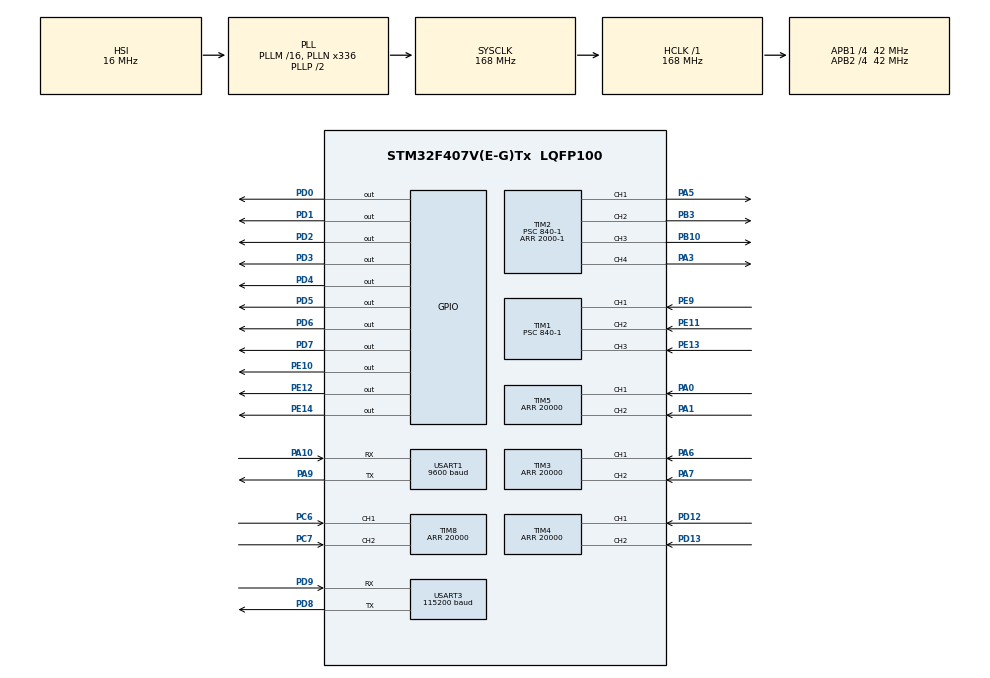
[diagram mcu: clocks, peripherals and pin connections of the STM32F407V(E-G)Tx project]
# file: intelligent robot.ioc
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FREERTOS.Queues01=imutomotor,32,uint16_t,0,Dynamic,NULL,NULL;imudata,32,uint16_t,0,Dynamic,NULL,NULL;pid_queueHandle,20,uint16_t,0,Dynamic,NULL,NULL
FREERTOS.Tasks01=defaultTask,16,128,StartDefaultTask,Default,NULL,Dynamic,NULL,NULL;imu_task,40,256,IMU_task,Default,NULL,Dynamic,NULL,NULL;motor_task,24,384,MOTOR_TASK,Default,NULL,Dynamic,NULL,NULL;exchange_task,8,128,EXchangetask,Default,NULL,Dynamic,NULL,NULL
FREERTOS.configTOTAL_HEAP_SIZE=20480
Mcu.Family=STM32F4
Mcu.Name=STM32F407V(E-G)Tx
Mcu.Package=LQFP100
NVIC.PriorityGroup=NVIC_PRIORITYGROUP_4
NVIC.TIM1_CC_IRQn=true\:5\:0\:true\:false\:true\:true\:true\:true\:true
NVIC.TIM1_TRG_COM_TIM11_IRQn=true\:7\:0\:true\:false\:true\:true\:true\:true\:true
NVIC.TIM6_DAC_IRQn=true\:6\:0\:true\:false\:true\:true\:true\:true\:true
NVIC.TIM7_IRQn=true\:6\:0\:true\:false\:true\:true\:true\:true\:true
NVIC.TIM8_BRK_TIM12_IRQn=true\:6\:0\:true\:false\:true\:true\:true\:true\:true
NVIC.TIM8_UP_TIM13_IRQn=true\:15\:0\:false\:false\:true\:false\:true\:true\:true
NVIC.TimeBase=TIM8_UP_TIM13_IRQn
NVIC.TimeBaseIP=TIM13
NVIC.USART1_IRQn=true\:5\:0\:true\:false\:true\:true\:true\:true\:true
NVIC.USART3_IRQn=true\:6\:0\:true\:false\:true\:true\:true\:true\:true
PA0-WKUP.Signal=S_TIM5_CH1
PA1.Signal=S_TIM5_CH2
PA10.Mode=Asynchronous
PA10.Signal=USART1_RX
PA13.Mode=Serial_Wire
PA13.Signal=SYS_JTMS-SWDIO
PA14.Mode=Serial_Wire
PA14.Signal=SYS_JTCK-SWCLK
PA3.Signal=S_TIM2_CH4
PA5.Signal=S_TIM2_CH1_ETR
PA6.Signal=S_TIM3_CH1
PA7.Signal=S_TIM3_CH2
PA9.Mode=Asynchronous
PA9.Signal=USART1_TX
PB10.Signal=S_TIM2_CH3
PB3.Signal=S_TIM2_CH2
PC6.Signal=S_TIM8_CH1
PC7.Signal=S_TIM8_CH2
PD0.Signal=GPIO_Output
PD1.Signal=GPIO_Output
PD12.Signal=S_TIM4_CH1
PD13.Signal=S_TIM4_CH2
PD2.Signal=GPIO_Output
PD3.Signal=GPIO_Output
PD4.Signal=GPIO_Output
PD5.Signal=GPIO_Output
PD6.Signal=GPIO_Output
PD7.Signal=GPIO_Output
PD8.Mode=Asynchronous
PD8.Signal=USART3_TX
PD9.Mode=Asynchronous
PD9.Signal=USART3_RX
PE10.GPIO_PuPd=GPIO_PULLUP
PE10.GPIO_Speed=GPIO_SPEED_FREQ_HIGH
PE10.Signal=GPIO_Output
PE11.Signal=S_TIM1_CH2
PE12.Signal=GPIO_Output
PE13.Signal=S_TIM1_CH3
PE14.Signal=GPIO_Output
PE9.Signal=S_TIM1_CH1
PH0-OSC_IN.Mode=HSE-External-Oscillator
PH0-OSC_IN.Signal=RCC_OSC_IN
PH1-OSC_OUT.Mode=HSE-External-Oscillator
PH1-OSC_OUT.Signal=RCC_OSC_OUT
ProjectManager.HeapSize=0x200
ProjectManager.StackSize=0x400
ProjectManager.TargetToolchain=MDK-ARM V5.32
RCC.48MHZClocksFreq_Value=48000000
RCC.AHBFreq_Value=168000000
RCC.APB1CLKDivider=RCC_HCLK_DIV4
RCC.APB1Freq_Value=42000000
RCC.APB1TimFreq_Value=84000000
RCC.APB2CLKDivider=RCC_HCLK_DIV4
RCC.APB2Freq_Value=42000000
RCC.APB2TimFreq_Value=84000000
RCC.CortexFreq_Value=168000000
RCC.HCLKFreq_Value=168000000
RCC.HSE_VALUE=16000000
RCC.HSI_VALUE=16000000
RCC.LSE_VALUE=32768
RCC.PLLN=336
RCC.PLLQ=7
RCC.SYSCLKFreq_VALUE=168000000
RCC.SYSCLKSource=RCC_SYSCLKSOURCE_PLLCLK
RCC.VCOOutputFreq_Value=336000000
SH.S_TIM1_CH1.0=TIM1_CH1,Input_Capture1_from_TI1
SH.S_TIM1_CH2.0=TIM1_CH2,Input_Capture2_from_TI2
SH.S_TIM1_CH3.0=TIM1_CH3,Input_Capture3_from_TI3
SH.S_TIM2_CH1_ETR.0=TIM2_CH1,PWM Generation1 CH1
SH.S_TIM2_CH2.0=TIM2_CH2,PWM Generation2 CH2
SH.S_TIM2_CH3.0=TIM2_CH3,PWM Generation3 CH3
SH.S_TIM2_CH4.0=TIM2_CH4,PWM Generation4 CH4
SH.S_TIM3_CH1.0=TIM3_CH1,Encoder_Interface
SH.S_TIM3_CH2.0=TIM3_CH2,Encoder_Interface
SH.S_TIM4_CH1.0=TIM4_CH1,Encoder_Interface
SH.S_TIM4_CH2.0=TIM4_CH2,Encoder_Interface
SH.S_TIM5_CH1.0=TIM5_CH1,Encoder_Interface
SH.S_TIM5_CH2.0=TIM5_CH2,Encoder_Interface
SH.S_TIM8_CH1.0=TIM8_CH1,Encoder_Interface
SH.S_TIM8_CH2.0=TIM8_CH2,Encoder_Interface
TIM1.Channel-Input_Capture1_from_TI1=TIM_CHANNEL_1
TIM1.Channel-Input_Capture2_from_TI2=TIM_CHANNEL_2
TIM1.Channel-Input_Capture3_from_TI3=TIM_CHANNEL_3
TIM1.Prescaler=840-1
TIM11.Period=1000
TIM11.Prescaler=840-1
TIM12.Period=10000
TIM12.Prescaler=840-1
TIM2.Channel-PWM\ Generation1\ CH1=TIM_CHANNEL_1
TIM2.Channel-PWM\ Generation2\ CH2=TIM_CHANNEL_2
TIM2.Channel-PWM\ Generation3\ CH3=TIM_CHANNEL_3
TIM2.Channel-PWM\ Generation4\ CH4=TIM_CHANNEL_4
TIM2.Period=2000-1
TIM2.Prescaler=840-1
TIM3.EncoderMode=TIM_ENCODERMODE_TI12
TIM3.Period=20000
TIM4.EncoderMode=TIM_ENCODERMODE_TI12
TIM4.Period=20000
TIM5.EncoderMode=TIM_ENCODERMODE_TI12
TIM5.Period=20000
TIM6.Period=800-1
TIM6.Prescaler=840-1
TIM7.Period=2000-1
TIM7.Prescaler=840-1
TIM8.EncoderMode=TIM_ENCODERMODE_TI12
TIM8.Period=20000
TIM9.Prescaler=84-1
USART1.BaudRate=9600
USART1.VirtualMode=VM_ASYNC
USART3.BaudRate=115200
USART3.VirtualMode=VM_ASYNC
VP_FREERTOS_VS_CMSIS_V2.Mode=CMSIS_V2
VP_SYS_VS_tim13.Mode=TIM13
VP_TIM11_VS_ClockSourceINT.Mode=Enable_Timer
VP_TIM12_VS_ClockSourceINT.Mode=Internal
VP_TIM1_VS_ClockSourceINT.Mode=Internal
VP_TIM2_VS_ClockSourceINT.Mode=Internal
VP_TIM6_VS_ClockSourceINT.Mode=Enable_Timer
VP_TIM7_VS_ClockSourceINT.Mode=Enable_Timer
VP_TIM9_VS_ClockSourceINT.Mode=Internal
board=custom

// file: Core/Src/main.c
/* USER CODE BEGIN Header */
/**
  ******************************************************************************
  * @file           : main.c
  * @brief          : Main program body
  ******************************************************************************
  * @attention
  *
  * Copyright (c) 2025 STMicroelectronics.
  * All rights reserved.
  *
  * This software is licensed under terms that can be found in the LICENSE file
  * in the root directory of this software component.
  * If no LICENSE file comes with this software, it is provided AS-IS.
  *
  ******************************************************************************
  */
/* USER CODE END Header */
#include "main.h"
#include "cmsis_os.h"
#include "tim.h"
#include "usart.h"
#include "gpio.h"

/* USER CODE BEGIN Includes */
#include "motor.h"
#include "stm32f4xx_it.h"
#include "math.h"
/* USER CODE END Includes */

/* USER CODE BEGIN PV */
uint8_t imu_buffer[2][10];
static PIDdata SP={0} ;
static PIDdata SP1={0} ;
static PIDdata SP2={0} ;
static PIDdata SP3={0} ;
static PIDdata target0={0} ;
static PIDdata target1={0} ;
static PIDdata turnangle={0} ;
static locationdata location={0};
static PIDdata lengthPID1={0};
static PIDdata lengthPID2={0};
locationdata *locate=&location;
PIDdata *speed=&SP;
PIDdata *speed2=&SP1;
PIDdata *speed3=&SP2;
PIDdata *speed4=&SP3;
PIDdata *ta0=&target0;
PIDdata *ta1=&target1;
PIDdata *angle=&turnangle;
PIDdata *lengthpidX=&lengthPID1;
PIDdata *lengthpidY=&lengthPID2;
Obstaclecase judge_ob;
extern uint16_t runstate;
extern JY901_Data imu_data;
uint16_t sudu=0;
 uint8_t RX_buffer[1];
extern uint8_t Uart3_Receive_buf[1];
extern uint16_t len_control;
extern OdomData Odom;
/* USER CODE END PV */

void SystemClock_Config(void);
void MX_FREERTOS_Init(void);

int main(void)
{

  /* MCU Configuration--------------------------------------------------------*/

  /* Reset of all peripherals, Initializes the Flash interface and the Systick. */
  HAL_Init();

  /* Configure the system clock */
  SystemClock_Config();

  /* Initialize all configured peripherals */
  MX_GPIO_Init();
  MX_TIM1_Init();
  MX_TIM6_Init();
  MX_TIM2_Init();
  MX_TIM3_Init();
  MX_TIM4_Init();
  MX_TIM5_Init();
  MX_TIM8_Init();
  MX_USART1_UART_Init();
  MX_TIM9_Init();
  MX_TIM7_Init();
  MX_TIM11_Init();
  MX_USART3_UART_Init();
  MX_TIM12_Init();
  /* USER CODE BEGIN 2 */
  DWT_Init();
 PID_init();
 // RC_Init(imu_buffer[0],imu_buffer[1],imu_buflength);
  HAL_TIM_Base_Start(&htim1);
  HAL_TIM_Base_Start(&htim2);
     HAL_TIM_Base_Start_IT(&htim6);
    HAL_TIM_Base_Start(&htim9);
	 HAL_TIM_Base_Start_IT(&htim12);

  //  HAL_TIM_Base_Start(&htim10);;
   uint8_t rx_byte;

HAL_UART_Receive_IT(&huart1, &rx_byte, 1);
	// motor_run(500,500,500,500);
  HAL_TIM_PWM_Start(&htim2, TIM_CHANNEL_1);
  HAL_TIM_PWM_Start(&htim2, TIM_CHANNEL_2);
  HAL_TIM_PWM_Start(&htim2, TIM_CHANNEL_3);
  HAL_TIM_PWM_Start(&htim2, TIM_CHANNEL_4);
//  // motor_turn_Left(1200,1200,1200,1200);
//  HAL_TIM_IC_Start_IT(&htim1, TIM_CHANNEL_1);
//
//	HAL_TIM_IC_Start_IT(&htim1, TIM_CHANNEL_2);
//
//	HAL_TIM_IC_Start_IT(&htim1, TIM_CHANNEL_3);
//
  HAL_Delay(1000);
  HAL_UART_Receive_IT(&huart3,Uart3_Receive_buf,1);
  HAL_TIM_Base_Start_IT(&htim11);

  /* USER CODE END 2 */

  /* Init scheduler */
  osKernelInitialize();

  /* Call init function for freertos objects (in cmsis_os2.c) */
  MX_FREERTOS_Init();

  /* Start scheduler */
  osKernelStart();

  /* We should never get here as control is now taken by the scheduler */

  /* Infinite loop */
  while (1)
  {

  }
}

void SystemClock_Config(void)
{
  RCC_OscInitTypeDef RCC_OscInitStruct = {0};
  RCC_ClkInitTypeDef RCC_ClkInitStruct = {0};

  /** Configure the main internal regulator output voltage
  */
  __HAL_RCC_PWR_CLK_ENABLE();
  __HAL_PWR_VOLTAGESCALING_CONFIG(PWR_REGULATOR_VOLTAGE_SCALE1);

  /** Initializes the RCC Oscillators according to the specified parameters
  * in the RCC_OscInitTypeDef structure.
  */
  RCC_OscInitStruct.OscillatorType = RCC_OSCILLATORTYPE_HSI;
  RCC_OscInitStruct.HSIState = RCC_HSI_ON;
  RCC_OscInitStruct.HSICalibrationValue = RCC_HSICALIBRATION_DEFAULT;
  RCC_OscInitStruct.PLL.PLLState = RCC_PLL_ON;
  RCC_OscInitStruct.PLL.PLLSource = RCC_PLLSOURCE_HSI;
  RCC_OscInitStruct.PLL.PLLM = 16;
  RCC_OscInitStruct.PLL.PLLN = 336;
  RCC_OscInitStruct.PLL.PLLP = RCC_PLLP_DIV2;
  RCC_OscInitStruct.PLL.PLLQ = 7;
  if (HAL_RCC_OscConfig(&RCC_OscInitStruct) != HAL_OK)
  {
    Error_Handler();
  }

  /** Initializes the CPU, AHB and APB buses clocks
  */
  RCC_ClkInitStruct.ClockType = RCC_CLOCKTYPE_HCLK|RCC_CLOCKTYPE_SYSCLK
                              |RCC_CLOCKTYPE_PCLK1|RCC_CLOCKTYPE_PCLK2;
  RCC_ClkInitStruct.SYSCLKSource = RCC_SYSCLKSOURCE_PLLCLK;
  RCC_ClkInitStruct.AHBCLKDivider = RCC_SYSCLK_DIV1;
  RCC_ClkInitStruct.APB1CLKDivider = RCC_HCLK_DIV4;
  RCC_ClkInitStruct.APB2CLKDivider = RCC_HCLK_DIV4;

  if (HAL_RCC_ClockConfig(&RCC_ClkInitStruct, FLASH_LATENCY_5) != HAL_OK)
  {
    Error_Handler();
  }
}

/* USER CODE BEGIN 4 */
uint16_t get_encoder()
{
	return __HAL_TIM_GET_COUNTER(&htim3);
}
uint16_t get_encoder1()
{
	return __HAL_TIM_GET_COUNTER(&htim4);
}
uint16_t get_encoder2()
{
	return __HAL_TIM_GET_COUNTER(&htim5);
}
uint16_t get_encoder3()
{
	return __HAL_TIM_GET_COUNTER(&htim8);
}

// ΢�뼶��ʱ����
void delay_us(uint32_t us) {
	uint16_t cnt=0;
   HAL_TIM_Base_Stop(&htim9);
	 __HAL_TIM_SET_COUNTER(&htim9, 0);
	HAL_TIM_Base_Start(&htim9);         // 计数器归零
    while (__HAL_TIM_GET_COUNTER(&htim9) < us)
	{
		cnt+=1;
	}
		// 等待计数器达到目标值
}
int16_t speedPID( uint16_t target,float *vbefore,float V,PIDdata *speed)
{

	if(V<0)
	{
		V=V*-1;
	}
	 int16_t error=target-V;
	 speed->Integral+=speed->KI*error;
	 int16_t weifen=V-*vbefore;
	*vbefore=V;
	//speed->LimitIntergal=target*2.5;
	if(speed->Integral>=speed->LimitIntergal)
	{
		speed->Integral=speed->LimitIntergal;
	}
	if(speed->Integral<=(speed->LimitIntergal)*(-1))
	{
		speed->Integral=(speed->LimitIntergal)*(-1);
	}
	int16_t output=speed->KP*error+speed->Integral+speed->KD*weifen;
	//speed->LimitOutput=target*3;
	if(output>=speed->LimitOutput)
	{
		output=speed->LimitOutput;
	}
	if(output<=0)
	{
		output=10;
	}

	return output;

}
int16_t direct_PID(int16_t target,int16_t *anglebefore,int16_t *intergram,int16_t angle ,PIDdata *tar)
{
	int16_t error=target-angle;
	*intergram+=tar->KI*error;
	int16_t wei=angle-*anglebefore;
	*anglebefore=angle;
	if(*intergram>=tar->LimitIntergal)
	{
		*intergram=tar->LimitIntergal;
	}
	if(*intergram<=((tar->LimitIntergal)*(-1)))
	{
		*intergram=(tar->LimitIntergal)*(-1);
	}
	int16_t output=tar->KP*error+*intergram+tar->KD*wei;

	if(output>=tar->LimitOutput)
	{
		output=tar->LimitOutput;
	}
	if(output<=(tar->LimitOutput)*(-1))
	{
		output=(-tar->LimitOutput*(-1));
	}
	return output;

}
void PID_init()
{
	speed->Integral=200;
	speed->KD=-1.5;
	speed->KI=0;
	speed->KP=25;
	speed->LimitIntergal=1400;
	speed->LimitOutput=1600;
	speed->limitoutput_fanzhuan=-200;

	speed2->Integral=200;
	speed2->KD=-1.5;
	speed2->KI=0;
	speed2->KP=25;
	speed2->LimitIntergal=1400;
	speed2->LimitOutput=1600;
	speed2->limitoutput_fanzhuan=-200;

	speed3->Integral=200;
	speed3->KD=-1.5;
	speed3->KI=0;
	speed3->KP=25;
	speed3->LimitIntergal=1400;
	speed3->LimitOutput=1600;
	speed3->limitoutput_fanzhuan=-200;

	speed4->Integral=200;
	speed4->KD=-1.5;
	speed4->KI=0;
	speed4->KP=25;
	speed4->LimitIntergal=1400;
	speed4->LimitOutput=1600;
	speed4->limitoutput_fanzhuan=-200;

	ta0->Integral=200;
	ta0->KD=10;
	ta0->KI=0.5;
	ta0->KP=0.05;
	ta0->LimitIntergal=200;
	ta0->LimitOutput=200;

	ta1->Integral=200;
	ta1->KD=10;
	ta1->KI=0.5;
	ta1->KP=0.05;
	ta1->LimitIntergal=200;
	ta1->LimitOutput=200;

	angle->KP=25;
	angle->KI=10;
	angle->KD=-0.9 ;
//    angle->KP=4;
//	angle->KI=0.5;
//	angle->KD=-0.5 ;

	angle->LimitIntergal=1600;
	angle->LimitOutput=1900;
	angle->Integral=50;

    lengthpidX->KP=20;
	lengthpidX->KI=0.8;
	lengthpidX->KD=-0.3;
	lengthpidX->LimitIntergal=500;
	lengthpidX->Integral=0;
	lengthpidX->LimitOutput=700;

	lengthpidY->KP=20;
	lengthpidY->KI=0.8;
	lengthpidY->KD=-0.3;
	lengthpidY->LimitIntergal=500;
	lengthpidY->Integral=0;
	lengthpidY->LimitOutput=700;

}
void PID_reinit()
{

	speed->KI=2.4;
	speed->KP=22;
	speed->Integral=200;
	speed2->KI=2.4;
	speed2->KP=22;
	speed2->Integral=200;
	speed3->KI=2.4;
	speed3->KP=22;
	speed3->Integral=200;
	speed4->KI=2.4;
	speed4->KP=22;
	speed4->Integral=200;
	angle->Integral=150;

}

float  MYabs(float a,float b)
{
	if((a-b)>0)
	{
		return a-b;
	}
	else
	{
		return b-a;
	}
}
float V_caculate(uint16_t *temp1,uint16_t *temp11,uint16_t *counter_temp1,uint16_t *counter_tempbefore1,uint16_t a)
{
	     if(*temp1>20000)
		 {
			 *temp1=*temp11;
		 }
			*counter_temp1=MYabs(*temp1,*temp11);
		 static uint16_t m1=0;
		 static uint16_t m2=0;
		  static uint16_t m3=0;
		  static uint16_t m4=0;
		 switch(a)
		 {
		case 1:
		{

		if(runstate==2|runstate==4)
		{
		if(*temp1>17000&&*temp11<3000)
		{

			*counter_temp1=*temp11+20000-*temp1;

	}
}
		if(runstate==1|runstate==3)
		{
		if(*temp11>17000&&*temp1<3000)
		{

			*counter_temp1=*temp1+20000-*temp11;

	}
}
		*counter_temp1=MYabs(*counter_temp1,0);
        if(runstate!=5)
		{
		if(*counter_temp1==0)
		{
			*counter_temp1=*counter_tempbefore1;
			m1+=1;
			if(m1>4)
			{
				*counter_temp1=0;
				m1=5;
			}

		}
		else{
		*counter_tempbefore1=*counter_temp1;
			m1=0;

		}
	}
	*temp11=*temp1;

	float V=*counter_temp1/0.02/13/4/30*M_PI*7.5;
	if(V>1000)
	{
		V=0;
	}

		return V;
	}
	case 2:
		{
		if(runstate==2|runstate==3)
		{
		if(*temp1>17000&&*temp11<3000)
		{

			*counter_temp1=*temp11+20000-*temp1;

	}
}
		if(runstate==1|runstate==4)
		{
		if(*temp11>17000&&*temp1<3000)
		{

			*counter_temp1=*temp1+20000-*temp11;

	}
}
		*counter_temp1=MYabs(*counter_temp1,0);
         if(runstate!=5)
		{
		if(*counter_temp1==0)
		{
			*counter_temp1=*counter_tempbefore1;
			m2+=1;
			if(m2>4)
			{
				*counter_temp1=0;
				m2=5;
			}
		}
		else{
		*counter_tempbefore1=*counter_temp1;
			m2=0;
		}
	}
	*temp11=*temp1;
	float V=*counter_temp1/0.02/13/4/30*M_PI*7.5;
    	if(V>1000)
	{
		V=0;
	}

		return V;
	}
	case 3:
		{
		if(runstate==1|runstate==4)
		{
		if(*temp1>17000&&*temp11<3000)
		{

			*counter_temp1=*temp11+20000-*temp1;

	}
}
		if(runstate==2|runstate==3)
		{
		if(*temp11>17000&&*temp1<3000)
		{

			*counter_temp1=*temp1+20000-*temp11;

	}
}
		*counter_temp1=MYabs(*counter_temp1,0);
        if(runstate!=5)
		{

		if(*counter_temp1==0)
		{
			*counter_temp1=*counter_tempbefore1;
			m3+=1;
			if(m3>4)
			{

				*counter_temp1=0;
				m3=5;
			}

		}
		else{
		*counter_tempbefore1=*counter_temp1;
			m3=0;
		}
	}
	*temp11=*temp1;
	float V=*counter_temp1/0.02/13/4/30*M_PI*7.5;
    	if(V>1000)
	{
		V=0;
	}

		return V;
	}
	case 4:
		{
		if(runstate==1|runstate==3)
		{
		if(*temp1>17000&&*temp11<3000)
		{

			*counter_temp1=*temp11+20000-*temp1;

	}
}
		if(runstate==2|runstate==4)
		{
		if(*temp11>17000&&*temp1<3000)
		{

			*counter_temp1=*temp1+20000-*temp11;

	}
}
		*counter_temp1=MYabs(*counter_temp1,0);
        if(runstate!=5)
		{
		if(*counter_temp1==0)
		{
			*counter_temp1=*counter_tempbefore1;
			m4+=1;
			if(m4>4)
			{
				*counter_temp1=0;
				m4=5;
			}
		}
		else{
		*counter_tempbefore1=*counter_temp1;
			m4=0;
		}
	*temp11=*temp1;
	float V=*counter_temp1/0.02/13/4/30*M_PI*7.5;
		if(V>1000)
	{
		V=0;
	}

		return V;
	}
}
	}

}
void turn_fixed_angle(float angle_begin ,float angle_target,uint16_t time)
{
	static float error=0;
	static float error_before=0;

	static float weifen=0;
	float change_angle;
	change_angle=MYabs(angle_begin,angle_target);
	if(angle_target>=90&&angle_begin<=-90)
	{
		change_angle=360-angle_target+angle_begin;
	}
	if(angle_begin>=90&&angle_target<=-90)
	{
		change_angle=360-angle_begin+angle_target;
	}
	if(angle_begin<-90&&angle_target>90)
	{
		if(imu_data.angle[2]<-90)
		{
			error=180-angle_target+imu_data.angle[2]+180;
		}
		if(imu_data.angle[2]>0)
		{
			error=imu_data.angle[2]-angle_target;
		}
	    angle->Integral+=angle->KI*error;
		weifen=change_angle-error;
		error_before = error;
		if(MYabs(error,0)<25&&MYabs(error,0)>15)
		{
		angle->LimitIntergal=MYabs(error,0)*(30-MYabs(error,0))*30;
		}
		else if(MYabs(error,0)<15&&MYabs(error,0)>5)
		{
			angle->LimitIntergal=MYabs(error,0)*(19-MYabs(error,0))*28;
			if(change_angle>50)
			{
				angle->LimitIntergal+=50;
			}
			else
			{
				angle->LimitIntergal+=change_angle;
			}
		}
		else if(MYabs(error,0)<5&&MYabs(error,0)>1.5)
		{
			angle->LimitIntergal=1200;
		}
		else if(MYabs(error,0)<=1.5)
		{
			angle->LimitIntergal=0;
			weifen=0;
		}
//		if(angle->LimitIntergal>=change_angle*4)
//		{
//			angle->LimitIntergal=change_angle*4;
//		}
		if(angle->Integral>angle->LimitIntergal)
		{
			angle->Integral=angle->LimitIntergal;
		}
		if(angle->Integral<=(angle->LimitIntergal*-1))
		{
			angle->Integral=angle->LimitIntergal*-1;
		}
		int16_t output=angle->KP*error+ angle->Integral+angle->KD*weifen;
		if(output>angle->LimitOutput)
		{
			output=angle->LimitOutput;
		}
		if(output<angle->LimitOutput*(-1))
		{
			output==angle->LimitOutput*(-1);
		}
		if(output>0)
		{
			motor_turn_Right(output+12*time,output+12*time,output+12*time,output+12*time);
		}
		else
		{
			motor_turn_Left(-1*output+12*time,-1*output+12*time,-1*output+12*time,-1*output+12*time);
		}
	}
	else if(angle_begin>=90&&angle_target<=-90)
	{
		if(imu_data.angle[2]>90)
		{
			error=180+angle_target-imu_data.angle[2]+180;
		}
		if(imu_data.angle[2]<0)
		{
			error=angle_target-imu_data.angle[2];
		}
	    angle->Integral+=angle->KI*error;
		weifen=change_angle-error;
		error_before = error;
		if(MYabs(error,0)<25&&MYabs(error,0)>15)
		{
		angle->LimitIntergal=MYabs(error,0)*(30-MYabs(error,0))*30;
		}
        else if(MYabs(error,0)<15&&MYabs(error,0)>5)
		{
			angle->LimitIntergal=MYabs(error,0)*(19-MYabs(error,0))*28;
			if(change_angle>50)
			{
				angle->LimitIntergal+=100;
			}
			else
			{
				angle->LimitIntergal+=change_angle;
			}
		}
		else if(MYabs(error,0)<5&&MYabs(error,0)>1.5)
		{
			angle->LimitIntergal=1200;
		}
		else if(MYabs(error,0)<=1.5)
		{
			angle->LimitIntergal=0;
			weifen=0;
		}
//		if(angle->LimitIntergal>=change_angle*5)
//		{
//			angle->LimitIntergal=change_angle*5;
//		}
		if(angle->Integral>angle->LimitIntergal)
		{
			angle->Integral=angle->LimitIntergal;
		}
		if(angle->Integral<=(angle->LimitIntergal*-1))
		{
			angle->Integral=angle->LimitIntergal*-1;
		}
		int16_t output=angle->KP*error+ angle->Integral+angle->KD*weifen;
		if(output>angle->LimitOutput)
		{
			output=angle->LimitOutput;
		}
		if(output<angle->LimitOutput*-1)
		{
			output=angle->LimitOutput*-1;
		}
		if(output>0)
		{
			motor_turn_Left(output+12*time,output+12*time,output+12*time,output+12*time);
		}
		else if(output<=0)
		{
		motor_turn_Right(output*-1+12*time,output*-1+12*time,output*-1+12*time,output*-1+12*time);
		}
	}
	else
	{
		if(imu_data.angle[2]>90&&angle_target<-90)
		{
			error=180-imu_data.angle[2]+angle_target+180;
		}
		else if(imu_data.angle[2]<-90&&angle_target>90)
		{
			error=-1*(imu_data.angle[2]+180+180-angle_target);
		}
		else
		{
			error=angle_target-imu_data.angle[2];
		}
		angle->Integral+=angle->KI*error;
		//angle->LimitIntergal=MYabs(error,0)*10;
		if(MYabs(error,0)<25&&MYabs(error,0)>15)
		{
		angle->LimitIntergal=MYabs(error,0)*(30-MYabs(error,0))*30+20;
		}
        else if(MYabs(error,0)<15&&MYabs(error,0)>5)
		{
			angle->LimitIntergal=MYabs(error,0)*(19-MYabs(error,0))*28;
			if(change_angle>30)
			{
				angle->LimitIntergal+=100;
			}
//			else
//			{
//				angle->LimitIntergal+=change_angle;
//			}
		}
		else if(MYabs(error,0)<5&&MYabs(error,0)>1.5)
		{
			angle->LimitIntergal=1200;

		}
		else if(MYabs(error,0)<=1.5)
		{
			angle->LimitIntergal=0;
			weifen=0;
		}
//		if(angle->LimitIntergal>=change_angle*5)
//		{
//			angle->LimitIntergal=change_angle*5;
//		}
		weifen=change_angle-error;
		error_before = error;
		if(angle->Integral>angle->LimitIntergal)
		{
			angle->Integral=angle->LimitIntergal;
		}
		if(angle->Integral<=(angle->LimitIntergal*-1))
		{
			angle->Integral=angle->LimitIntergal*-1;
		}
		int16_t output=angle->KP*error+angle->Integral+angle->KD*weifen;
		if(output>angle->LimitOutput)
		{
			output=angle->LimitOutput;
		}
		if(-1*output>angle->LimitOutput)
		{
			output=angle->LimitOutput*-1;
		}

		if(output>=0)
		{
			motor_turn_Left(output+12*time,output+12*time,output+12*time,output+12*time);
		}
		else
		{
			motor_turn_Right(-1*output+12*time,-1*output+12*time,-1*output+12*time,-1*output+12*time);
		}
	}

}

//void turn_fixed_angle(float angle_begin ,float angle_target,uint16_t time)
//{
//	static float error=0;
//	static float error_before=0;
//
//	static float weifen=0;
//	float change_angle;
//	change_angle=MYabs(angle_begin,angle_target);
//	if(angle_target>=90&&angle_begin<=-90)
//	{
//		change_angle=360-angle_target+angle_begin;
//	}
//	if(angle_begin>=90&&angle_target<=-90)
//	{
//		change_angle=360-angle_begin+angle_target;
//	}
//	if(angle_begin<-90&&angle_target>90)
//	{
//		if(imu_data.angle[2]<-90)
//		{
//			error=180-angle_target+imu_data.angle[2]+180;
//		}
//		if(imu_data.angle[2]>0)
//		{
//			error=imu_data.angle[2]-angle_target;
//		}
//	    angle->Integral+=angle->KI*error;
//		weifen=change_angle-error;
//		error_before = error;
//		if(MYabs(error,0)<25&&MYabs(error,0)>15)
//		{
//		angle->LimitIntergal=MYabs(error,0)*(27-MYabs(error,0));
//		}
//		else if(MYabs(error,0)<15&&MYabs(error,0)>5)
//		{
//			angle->LimitIntergal=MYabs(error,0)*(18-MYabs(error,0));
//			if(change_angle>50)
//			{
//				angle->LimitIntergal+=10;
//			}
////			else
////			{
////				angle->LimitIntergal+=change_angle;
////			}
//		}
//		else if(MYabs(error,0)<5&&MYabs(error,0)>1.5)
//		{
//			angle->LimitIntergal=50;
//		}
//		else if(MYabs(error,0)<=1.5)
//		{
//			angle->LimitIntergal=0;
//			weifen=0;
//		}
//		if(angle->LimitIntergal>=change_angle*4)
//		{
//			angle->LimitIntergal=change_angle*4;
//		}
//		if(angle->Integral>angle->LimitIntergal)
//		{
//			angle->Integral=angle->LimitIntergal;
//		}
//		if(angle->Integral<=(angle->LimitIntergal*-1))
//		{
//			angle->Integral=angle->LimitIntergal*-1;
//		}
//		int16_t output=angle->KP*error+ angle->Integral+angle->KD*weifen;
//		if(output>angle->LimitOutput)
//		{
//			output=angle->LimitOutput;
//		}
//		if(output<angle->LimitOutput*(-1))
//		{
//			output==angle->LimitOutput*(-1);
//		}
//		if(output>0)
//		{
//			motor_turn_Right(output+12*time,output+12*time,output+12*time,output+12*time);
//		}
//		else
//		{
//			motor_turn_Left(-1*output+12*time,-1*output+12*time,-1*output+12*time,-1*output+12*time);
//		}
//	}
//	else if(angle_begin>=90&&angle_target<=-90)
//	{
//		if(imu_data.angle[2]>90)
//		{
//			error=180+angle_target-imu_data.angle[2]+180;
//		}
//		if(imu_data.angle[2]<0)
//		{
//			error=angle_target-imu_data.angle[2];
//		}
//	    angle->Integral+=angle->KI*error;
//		weifen=change_angle-error;
//		error_before = error;
//		if(MYabs(error,0)<25&&MYabs(error,0)>15)
//		{
//		angle->LimitIntergal=MYabs(error,0)*(27-MYabs(error,0));
//		}
//        else if(MYabs(error,0)<15&&MYabs(error,0)>5)
//		{
//			angle->LimitIntergal=MYabs(error,0)*(18-MYabs(error,0));
//			if(change_angle>50)
//			{
//				angle->LimitIntergal+=10;
//			}
////			else
////			{
////				angle->LimitIntergal+=change_angle;
////			}
//		}
//		else if(MYabs(error,0)<5&&MYabs(error,0)>1.5)
//		{
//			angle->LimitIntergal=50;
//		}
//		else if(MYabs(error,0)<=1.5)
//		{
//			angle->LimitIntergal=0;
//			weifen=0;
//		}
//		if(angle->LimitIntergal>=change_angle*5)
//		{
//			angle->LimitIntergal=change_angle*5;
//		}
//		if(angle->Integral>angle->LimitIntergal)
//		{
//			angle->Integral=angle->LimitIntergal;
//		}
//		if(angle->Integral<=(angle->LimitIntergal*-1))
//		{
//			angle->Integral=angle->LimitIntergal*-1;
//		}
//		int16_t output=angle->KP*error+ angle->Integral+angle->KD*weifen;
//		if(output>angle->LimitOutput)
//		{
//			output=angle->LimitOutput;
//		}
//		if(output<angle->LimitOutput*-1)
//		{
//			output=angle->LimitOutput*-1;
//		}
//		if(output>0)
//		{
//			motor_turn_Left(output+12*time,output+12*time,output+12*time,output+12*time);
//		}
//		else if(output<=0)
//		{
//		motor_turn_Right(output*-1+12*time,output*-1+12*time,output*-1+12*time,output*-1+12*time);
//		}
//	}
//	else
//	{
//		if(imu_data.angle[2]>90&&angle_target<-90)
//		{
//			error=180-imu_data.angle[2]+angle_target+180;
//		}
//		else if(imu_data.angle[2]<-90&&angle_target>90)
//		{
//			error=-1*(imu_data.angle[2]+180+180-angle_target);
//		}
//		else
//		{
//			error=angle_target-imu_data.angle[2];
//		}
//		angle->Integral+=angle->KI*error;
//		angle->LimitIntergal=MYabs(error,0)*10;
//		if(MYabs(error,0)<25&&MYabs(error,0)>15)
//		{
//		angle->LimitIntergal=MYabs(error,0)*(27-MYabs(error,0))+20;
//		}
//        else if(MYabs(error,0)<15&&MYabs(error,0)>5)
//		{
//			angle->LimitIntergal=MYabs(error,0)*(18-MYabs(error,0));
//			if(change_angle>30)
//			{
//				angle->LimitIntergal+=10;
//			}
////			else
////			{
////				angle->LimitIntergal+=change_angle;
////			}
//		}
//		else if(MYabs(error,0)<5&&MYabs(error,0)>1.5)
//		{
//			angle->LimitIntergal=50;

//		}
//		else if(MYabs(error,0)<=1.5)
//		{
//			angle->LimitIntergal=0;
//			weifen=0;
//		}
//		if(angle->LimitIntergal>=change_angle*5)
//		{
//			angle->LimitIntergal=change_angle*5;
//		}
//		weifen=change_angle-error;
//		error_before = error;
//		if(angle->Integral>angle->LimitIntergal)
//		{
//			angle->Integral=angle->LimitIntergal;
//		}
//		if(angle->Integral<=(angle->LimitIntergal*-1))
//		{
//			angle->Integral=angle->LimitIntergal*-1;
//		}
//		int16_t output=angle->KP*error+angle->Integral+angle->KD*weifen;
//		if(output>angle->LimitOutput)
//		{
//			output=angle->LimitOutput;
//		}
//		if(-1*output>angle->LimitOutput)
//		{
//			output=angle->LimitOutput*-1;
//		}
//
//		if(output>=0)
//		{
//			motor_turn_Left(output+12*time,output+12*time,output+12*time,output+12*time);
//		}
//		else
//		{
//			motor_turn_Right(-1*output+12*time,-1*output+12*time,-1*output+12*time,-1*output+12*time);
//		}
//	}
//
//
//}
void locateenter(float *v1,float *v2,float *v3,float *v4,float dalayt)
{
	locate->Vtx=(*v1+*v2+*v3+*v4)/4;
	locate->Vty=(*v3-*v1+*v2-*v4)/4;
	locate->relativeX+=locate->Vtx*dalayt;
	locate->relativeY+=locate->Vty*dalayt;
	float angle=imu_data.angle[2]*2*M_PI/360;
	locate->VX=locate->Vtx*cosf(angle)-locate->Vty*sinf(angle);
	locate->VY=locate->Vtx*sinf(angle)+locate->Vty*cosf(angle);
	locate->locationX+=locate->VX*dalayt;
	locate->locationY+=locate->VY*dalayt;
	locate->W=(*v4-*v3)/(100-50);
	Odom.x=locate->locationX/100;
	Odom.y=locate->locationY/100;
	Odom.yaw=imu_data.angle[2];

}
float length_control(float lengthnow,float target,PIDdata *lengthpid)
{
	static float error_before;
	float error=target-lengthnow;
	float weifen=error-error_before;
	error_before=error;
	if(error<15)
	{
	lengthpid->Integral+=error*lengthpid->KI;
	}
	if(lengthpid->Integral>lengthpid->LimitIntergal)
	{
		lengthpid->Integral=lengthpid->LimitIntergal;
	}
		if(lengthpid->Integral<lengthpid->LimitIntergal*(-1))
	{
		lengthpid->Integral=lengthpid->LimitIntergal*(-1);
	}
	float output=lengthpid->KP*error+lengthpid->KD*weifen+lengthpid->Integral;
	if(output>lengthpid->LimitOutput)
	{
		output=lengthpid->LimitOutput;
    }
		if(output<lengthpid->LimitOutput*-1)
	{
		output=lengthpid->LimitOutput*-1;
    }
	return output;
}
void length_goX(float len)
{
	if(len_control==1)
	{
	  static uint16_t cnt=0;
	  static float target1=0;
	  static uint16_t cnt1=0;
	  if(cnt==0)
	  {
		  target1=locate->relativeX+len;
		  cnt=1;
	  }
	  float output=length_control(locate->relativeX,target1,lengthpidX);
	  if(len>=0)
	  {
	  motor_left(output,output,output,output);
	  }
	  if(len<0)
	  {
	  motor_right(output,output,output,output);
	  }
	  if(MYabs(target1,locate->relativeX)<1)
	  {
		  cnt1+=1;
		  if(cnt1>=5)
		  {
		  lengthpidX->Integral=0;
		  motor_stop();
		   len_control=2;
		  }
	  }
	  else
	  {
		  cnt1=0;
	  }

  }
}
void length_goY(float len)
{
	if(len_control==0)
	{
	  static uint16_t cnt=0;
	  static float target1=0;
	 static uint16_t cnt1=0;
	  if(cnt==0)
	  {
		  target1=locate->relativeY+len;
		  cnt=1;
	  }
	  float output=length_control(locate->relativeY,target1,lengthpidY);
	  if(len>=0)
	  {
	  motor_run(output,output,output,output);
	  }
	  if(len<0)
	  {
	  motor_back(output,output,output,output);
	  }
	  if(MYabs(target1,locate->relativeY)<1)
	  {
		  cnt1+=1;
		  if(cnt1>=5)
		  {
		  lengthpidY->Integral=0;
		  motor_stop();
		  len_control=1;
		  }
	  }
	  else
	  {
		  cnt1=0;
	  }
  }
}

/* USER CODE END 4 */

void HAL_TIM_PeriodElapsedCallback(TIM_HandleTypeDef *htim)
{
  if (htim->Instance == TIM13)
  {
    HAL_IncTick();
  }
}

void Error_Handler(void)
{
  __disable_irq();
  while (1)
  {
  }
}

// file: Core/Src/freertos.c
/* USER CODE BEGIN Header */
/**
  ******************************************************************************
  * File Name          : freertos.c
  * Description        : Code for freertos applications
  ******************************************************************************
  * @attention
  *
  * Copyright (c) 2025 STMicroelectronics.
  * All rights reserved.
  *
  * This software is licensed under terms that can be found in the LICENSE file
  * in the root directory of this software component.
  * If no LICENSE file comes with this software, it is provided AS-IS.
  *
  ******************************************************************************
  */
/* USER CODE END Header */

#include "FreeRTOS.h"
#include "task.h"
#include "main.h"
#include "cmsis_os.h"

/* USER CODE BEGIN Includes */
#include "stm32f4xx_it.h"
#include "motor.h"

#include "freertos.h"
#include "semphr.h"
#include "task.h"
#include "usart.h"
/* USER CODE END Includes */

/* USER CODE BEGIN PD */
uint16_t cnt=0;
/* USER CODE END PD */

/* USER CODE BEGIN PM */
extern TIM_HandleTypeDef htim2;
extern TIM_HandleTypeDef htim7;
extern TIM_HandleTypeDef htim6;
extern TIM_HandleTypeDef htim10;
extern JY901_Data imu_data;
extern uint16_t aa;
extern uint16_t runstate;
extern PIDdata *speed;
extern PIDdata *speed2;
extern PIDdata *speed3;
extern PIDdata *speed4;
extern PIDdata *ta0;
extern PIDdata *ta1;
extern uint16_t length1;
extern uint16_t length2;
extern uint16_t length3;
extern Obstaclecase judge_ob;

extern float V1;
extern float V2;
extern float V3;
extern float V4;
uint16_t temp1=0;
uint16_t temp2=0;
uint16_t temp3=0;
uint16_t temp4=0;
int16_t  sudu1=0;
int16_t  sudu2=0;
int16_t  sudu3=0;
int16_t  sudu4=0;
float imuprocessdata[9];
extern uint16_t bb;
uint16_t flag_angle=0;
int16_t angle_now;
float angle_begin;
float target;
float angle_true=0;
uint16_t timenow=0;
uint16_t timebefore=0;

 float acc_x_filtered=0;
 float acc_y_filtered=0;
float acc_z_filtered=0;
extern locationdata *locate;
uint16_t fangxiang=10;
extern PIDdata *lengthpid;
uint16_t len_control=1;
extern float best_angle;
uint16_t flag=0;
/* USER CODE END PM */

/* Definitions for defaultTask */
osThreadId_t defaultTaskHandle;
const osThreadAttr_t defaultTask_attributes = {
  .name = "defaultTask",
  .stack_size = 128 * 4,
  .priority = (osPriority_t) osPriorityBelowNormal,
};
/* Definitions for imu_task */
osThreadId_t imu_taskHandle;
const osThreadAttr_t imu_task_attributes = {
  .name = "imu_task",
  .stack_size = 256 * 4,
  .priority = (osPriority_t) osPriorityHigh,
};
/* Definitions for motor_task */
osThreadId_t motor_taskHandle;
const osThreadAttr_t motor_task_attributes = {
  .name = "motor_task",
  .stack_size = 384 * 4,
  .priority = (osPriority_t) osPriorityNormal,
};
/* Definitions for exchange_task */
osThreadId_t exchange_taskHandle;
const osThreadAttr_t exchange_task_attributes = {
  .name = "exchange_task",
  .stack_size = 128 * 4,
  .priority = (osPriority_t) osPriorityLow,
};
/* Definitions for imutomotor */
osMessageQueueId_t imutomotorHandle;
const osMessageQueueAttr_t imutomotor_attributes = {
  .name = "imutomotor"
};
/* Definitions for imudata */
osMessageQueueId_t imudataHandle;
const osMessageQueueAttr_t imudata_attributes = {
  .name = "imudata"
};
/* Definitions for pid_queueHandle */
osMessageQueueId_t pid_queueHandleHandle;
const osMessageQueueAttr_t pid_queueHandle_attributes = {
  .name = "pid_queueHandle"
};

void StartDefaultTask(void *argument);
void IMU_task(void *argument);
void MOTOR_TASK(void *argument);
void EXchangetask(void *argument);

void MX_FREERTOS_Init(void); /* (MISRA C 2004 rule 8.1) */

void MX_FREERTOS_Init(void) {

  /* Create the queue(s) */
  /* creation of imutomotor */
  imutomotorHandle = osMessageQueueNew (32, sizeof(uint16_t), &imutomotor_attributes);

  /* creation of imudata */
  imudataHandle = osMessageQueueNew (32, sizeof(uint16_t), &imudata_attributes);

  /* creation of pid_queueHandle */
  pid_queueHandleHandle = osMessageQueueNew (20, sizeof(uint16_t), &pid_queueHandle_attributes);

  /* Create the thread(s) */
  /* creation of defaultTask */
  defaultTaskHandle = osThreadNew(StartDefaultTask, NULL, &defaultTask_attributes);

  /* creation of imu_task */
  imu_taskHandle = osThreadNew(IMU_task, NULL, &imu_task_attributes);

  /* creation of motor_task */
  motor_taskHandle = osThreadNew(MOTOR_TASK, NULL, &motor_task_attributes);

  /* creation of exchange_task */
  exchange_taskHandle = osThreadNew(EXchangetask, NULL, &exchange_task_attributes);

}

void StartDefaultTask(void *argument)
{
   while(1)
  {
    osDelay(1);
  }
}

void IMU_task(void *argument)
{
  /* USER CODE BEGIN IMU_task */
  /* Infinite loop */
	osStatus_t status;

	uint8_t data;

    int16_t target1=0;
	int16_t target2=0;
    int16_t target3=0;
    int16_t target4=0;
    int16_t angle_be=0;
	int16_t angle2_be=0;
	int16_t intergram=0;
	int16_t intergram2=0;
	float v1;
	float v2;
	float v3;
	BiquadFilter bpf_x, bpf_y, bpf_z;
	BiquadFilter bpfv_x, bpfv_y, bpfv_z;
    init_bpf(&bpf_x, 0.1f, 50.0f, 0.001f);
    init_bpf(&bpf_y, 0.1f, 50.0f, 0.001f);
    init_bpf(&bpf_z, 0.1f, 50.0f, 0.001f);
	   init_bpf(&bpfv_x, 0.1f, 50.0f, 0.001f);
    init_bpf(&bpfv_y, 0.1f, 50.0f, 0.001f);
    init_bpf(&bpfv_z, 0.1f, 50.0f, 0.001f);
  while(1)
  {
	  if(osMessageQueueGet(imudataHandle,&data,0,0)==osOK)
	  {
		  timenow= __HAL_TIM_GET_COUNTER(&htim2);
		  uint16_t changet=timenow-timebefore;
		  timebefore=timenow;
		  float deltat=changet*0.000001f;
	if(imu_data.updated==1&&aa==200&&bb==200)
	{
		     init_bpf(&bpf_x, 0.01f, 200.0f, deltat);
             init_bpf(&bpf_y, 0.01f, 200.0f, deltat);
             init_bpf(&bpf_z, 0.01f, 200.0f, deltat);
//		    acc_x_filtered = apply_bpf(&bpf_x, imu_data.acc[0]);
//            acc_y_filtered = apply_bpf(&bpf_y, imu_data.acc[1]);
//            acc_z_filtered = apply_bpf(&bpf_z, imu_data.acc[2]);
		acc_x_filtered=imu_data.acc[0];
		acc_y_filtered=imu_data.acc[1];
		acc_z_filtered=imu_data.acc[2];
		target1=direct_PID(angle_true,&angle_be,&intergram,imu_data.angle[2],ta0);
		target2=direct_PID(angle_true,&angle2_be,&intergram2,imu_data.angle[2],ta1);
		imuprocessdata[0]=imu_data.angle[2];
		imuprocessdata[1]=target1;
		imuprocessdata[2]=target2;
        init_bpf(&bpfv_x, 0.05f, 1000.0f, deltat);
        init_bpf(&bpfv_y, 0.05f, 1000.0f, deltat);
        init_bpf(&bpfv_z, 0.05f, 1000.0f, deltat);
		if(acc_x_filtered<-0.025||acc_x_filtered>0.025)
		{
		v1+=acc_x_filtered*deltat;
		}
		if(acc_y_filtered<-0.025||acc_y_filtered>0.025)
		{
		v2+= acc_y_filtered*deltat;
		}
		if(acc_z_filtered<-0.025||acc_z_filtered>0.025)
		{
		v3+=acc_z_filtered*deltat;
		}
         imuprocessdata[3]=apply_bpf(&bpfv_x,v1);
		imuprocessdata[4]=apply_bpf(&bpfv_y, v2);
		imuprocessdata[5]=apply_bpf(&bpfv_z, v3);
		if(imuprocessdata[3]<-0.04||imuprocessdata[3]>0.04)
		{
		imuprocessdata[6]+=imuprocessdata[3]*deltat;
		}
		if(imuprocessdata[4]<-0.04||imuprocessdata[4]>0.04)
		{
		imuprocessdata[7]+=imuprocessdata[4]*deltat;
		}
		if(imuprocessdata[5]<-0.04||imuprocessdata[5]>0.04)
		{
		imuprocessdata[8]+=imuprocessdata[5]*deltat;
		}

		imu_data.updated=0;
	//	motor_run(300,300,300,300);
	}
}
	if(imu_data.updated==0)
	{
	osDelay(5);
	}
  }
  /* USER CODE END IMU_task */
}

void MOTOR_TASK(void *argument)
{
  /* USER CODE BEGIN MOTOR_TASK */
  /* Infinite loop */
	HAL_TIM_Base_Start_IT(&htim7);

	uint8_t received_array[6];
	osStatus_t status;
	 int16_t  sudu1_be=0;

	 int16_t  sudu2_be=0;

	 int16_t  sudu3_be=0;

	 int16_t  sudu4_be=0;
	 int i=0;
	 float V1_be=0;
	 float V2_be=0;
	 float V3_be=0;
	 float V4_be=0;
     uint16_t first_time=0;
	 uint16_t j=0;
	  uint16_t time=0;
	  static uint16_t last_judge=0;
	   uint16_t V_cnt=0;
	   uint16_t turn_cnt=0;
	   uint16_t last_turn=0;
	   uint16_t angle_break=0;
	   int16_t turncircle=0;
	   uint16_t mode=1;
	   uint16_t step=1;

  while(1)
  {
	  if(osMessageQueueGet(pid_queueHandleHandle,&time,0,0)==osOK)

	  {
	   if(aa==200&&first_time<5){
		   PID_init();
		 //  PID_reinit();
//		  speed->Integral=200;
//		  speed2->Integral=200;
//		  speed3->Integral=200;
//		  speed4->Integral=200;
		   first_time+=1;
	   }
	   else if(first_time>=5)
	   {

		  {

			  //sudu1=speedPID(500+imuprocessdata[1],&V1_be,v1,speed);
			  sudu1=speedPID(30,&V2_be,V2,speed);
			  if (V1>10&&j==0)
			  {
				  PID_reinit();
				  j+=1;
			  }
			  if(sudu1==0)
			  {
				  sudu1=sudu1_be;
			  }
			  else
			  {
				  sudu1_be=sudu1;
			  }
			 // sudu2=speedPID(500-imuprocessdata[1],&V2_be,v2,speed2);
			  sudu2=speedPID(30,&V1_be,V1,speed2);
			  if(sudu2==0)
			  {
				  sudu2=sudu2_be;
			  }
			  else
			  {
				  sudu2_be=sudu2;
			  }
			  //sudu3=speedPID(500-imuprocessdata[2],&V3_be,v3,speed3);
			  sudu3=speedPID(30,&V3_be,V3,speed3);
			  if(sudu3==0)
			  {
				  sudu3=sudu3_be;
			  }
			  else
			  {
				  sudu3_be=sudu3;
			  }
			  //sudu4=speedPID(500+imuprocessdata[2],&V4_be,v4,speed4);
			  sudu4=speedPID(30,&V4_be,V4,speed4);
			  if(sudu4==0)
			  {
				  sudu4=sudu4_be;
			  }
			  else
			  {
				  sudu4_be=sudu4;
			  }
			  if(mode==0)
			  {
			  if(fangxiang==0)
			  {
			  motor_run(sudu1,sudu2,sudu3,sudu4);
			  }
			  if(fangxiang==1)
			  {
			   motor_back(sudu1,sudu2,sudu3,sudu4);
			  }
			  if(fangxiang==2)
			  {
				motor_turn_Left(sudu1,sudu2,sudu3,sudu4);
			  }
			  if(fangxiang ==3)
			  {
				  motor_turn_Right(sudu1,sudu2,sudu3,sudu4);
			  }
			    if(fangxiang ==4)
			  {
				  motor_stop();
			  }
			 // length_goX(50);
			  //length_goY(180);

		  }

//			    static uint16_t cnt=0;
//					   static uint16_t cnt1=0;
//
//					   if(cnt==0)
//					   {
//					    angle_begin=imu_data.angle[2];
//					    target=angle_begin+25;
//						cnt=1;
//					   }
//					   if(target>180)
//					   {
//						   target=target-360;
//					   }
//					   if(target<-180)
//					   {
//					       target+=360;
//					   }
//					   turn_fixed_angle(angle_begin,target,time);
//					   if(MYabs(imu_data.angle[2],target)>1.5)
//					   {
//					   flag_angle==1;
//					   cnt=1;
//					   cnt1=0;
//					   }
//					   if(MYabs(imu_data.angle[2],target)<=1.5)
//					   {
//						   cnt1+=1;
//						   if(cnt1>=3)
//						   {
//							   //cnt1=0;
//							   flag_angle=0;
//							   cnt=0;
//							   motor_stop();
//							  PID_reinit();
//							   osDelay(2000);
//
//						   }
//					   }
                 if(mode==1)
				 {
					if(flag_angle==0)
					{
					judge_ob= detect_Obstacle();
					}
					if(judge_ob!=last_judge)
					{
						sudu1=650;
						sudu2=650;
						sudu3=650;
						sudu4=650;
						V_cnt=0;

					}
					if(V_cnt<5)
					{
						V_cnt+=1;

					}

			  switch(judge_ob)
			  {
			       case 0:
				   {
			       motor_run(sudu1,sudu2,sudu3,sudu4);

				   break;
				   }
				   case 1:
				   {
					   static uint16_t cnt=0;
					   static uint16_t cnt1=0;

					   if(cnt==0)
					   {
						   flag_angle=1;
						  motor_back(70,70,70,70);
						  osDelay(250);
						   motor_stop();
						  //  osDelay(300);
					    angle_begin=imu_data.angle[2];
					    target=angle_begin-25-angle_break;
						cnt=1;
					   }
					   if(target>180)
					   {
						   target=target-360;
					   }
					   if(target<-180)
					   {
					       target+=360;
					   }
					   turn_fixed_angle(angle_begin,target,time);
					   if(MYabs(imu_data.angle[2],target)>5)
					   {
					   flag_angle=1;
					   cnt=1;
					   cnt1=0;
					   }
					   if(MYabs(imu_data.angle[2],target)<=5)
					   {
						   cnt1+=1;
						   if(cnt1>=3)
						   {
							   cnt1=0;
							   flag_angle=0;
							   cnt=0;
							   motor_stop();
							  PID_reinit();
							   osDelay(400);
							   turn_cnt =2;
							   angle_true=imu_data.angle[2];
							   if(last_turn!=turn_cnt&&turn_cnt !=0)
							   {
								   turncircle+=1;

							   }
							   if(last_turn==turn_cnt)
							   {
								   turncircle=0;
								   angle_break=0;

							   }
							   if(turncircle>=3)
							   {
								 uint16_t a=turncircle/3;
								   angle_break+=a*15;

							   }
							   last_turn=turn_cnt;
							    PID_reinit();
\

						   }
					   }

					   break;
				   }
				   case 2:
				   {
					static  uint16_t m=0;
					if(length2>length3||m==1)
					{
					   static uint16_t cnt=0;
					   static uint16_t cnt1=0;
					    m=1;
					   if(cnt==0)
					   {
						   flag_angle=1;
						  motor_back(70,70,70,70);
						  osDelay(250);
						     motor_stop();

					    angle_begin=imu_data.angle[2];
					    target=angle_begin+25+angle_break;
						cnt=1;
					   }
					   if(target>180)
					   {
						   target=target-360;
					   }
					   if(target<-180)
					   {
					       target+=360;
					   }
					   turn_fixed_angle(angle_begin,target,time);
					   if(MYabs(imu_data.angle[2],target)>5)
					   {
					   flag_angle=1;
					   cnt=1;
					   cnt1=0;
					   }
					   if(MYabs(imu_data.angle[2],target)<=5)
					   {
						   cnt1+=1;
						   if(cnt1>=3)
						   {
							   cnt1=0;
							   flag_angle=0;
							   cnt=0;
							   motor_stop();

							   turn_cnt =1;
							    angle_true=imu_data.angle[2];
							   if(last_turn!=turn_cnt&&turn_cnt !=0)
							   {
								   turncircle+=1;

							   }
							   if(last_turn==turn_cnt)
							   {
								   turncircle=0;
								   angle_break=0;

							   }
							   if(turncircle>=3)
							   {
								 uint16_t a=turncircle/3;
								   angle_break+=a*15;

							   }
							   last_turn=turn_cnt;
							   osDelay(400);
							    PID_reinit();
							   m=0;

						   }
					   }

					   break;
					}
					else
					{
										   static uint16_t cnt=0;
					   static uint16_t cnt1=0;
					    m=0;
					   if(cnt==0)
					   {
						   flag_angle=1;
						   motor_back(70,70,70,70);
						  osDelay(250);
						     motor_stop();
					    angle_begin=imu_data.angle[2];
					    target=angle_begin-25-angle_break;
						cnt=1;
					   }
					   if(target>180)
					   {
						   target=target-360;
					   }
					   if(target<-180)
					   {
					       target+=360;
					   }
					   turn_fixed_angle(angle_begin,target,time);
					   if(MYabs(imu_data.angle[2],target)>5)
					   {
					   flag_angle=1;
					   cnt=1;
					   cnt1=0;
					   }
					   if(MYabs(imu_data.angle[2],target)<=5)
					   {
						   cnt1+=1;
						   if(cnt1>=3)
						   {
							   cnt1=0;
							   flag_angle=0;
							   cnt=0;
							   motor_stop();

							   turn_cnt =2;
							    angle_true=imu_data.angle[2];
							   if(last_turn!=turn_cnt&&turn_cnt !=0)
							   {
								   turncircle+=1;

							   }
							   if(last_turn==turn_cnt)
							   {
								   turncircle=0;
								   angle_break=0;

							   }
							   if(turncircle>=3)
							   {
								 uint16_t a=turncircle/3;
								   angle_break+=a*15;

							   }
							   last_turn=turn_cnt;
							   osDelay(400);
							    PID_reinit();

						   }
					   }

					   break;
					}
				   }
				   case 3:
				   {
					 static uint16_t cnt=0;
					   static uint16_t cnt1=0;

					   if(cnt==0)
					   {
						   flag_angle=1;
						  motor_back(70,70,70,70);
						  osDelay(250);
						     motor_stop();
					    angle_begin=imu_data.angle[2];
					    target=angle_begin+25+angle_break;
						cnt=1;
					   }
					   if(target>180)
					   {
						   target=target-360;
					   }
					   if(target<-180)
					   {
					       target+=360;
					   }
					   turn_fixed_angle(angle_begin,target,time);
					   if(MYabs(imu_data.angle[2],target)>5)
					   {
					   flag_angle=1;
					   cnt=1;
					   cnt1=0;
					   }
					   if(MYabs(imu_data.angle[2],target)<=5)
					   {
						   cnt1+=1;
						   if(cnt1>=3)
						   {
							   cnt1=0;
							   flag_angle=0;
							   cnt=0;
							   motor_stop();
							   turn_cnt =1;
							    angle_true=imu_data.angle[2];
							   if(last_turn!=turn_cnt&&turn_cnt !=0)
							   {
								   turncircle+=1;

							   }
							   if(last_turn==turn_cnt)
							   {
								   turncircle=0;
								   angle_break=0;

							   }
							   if(turncircle>=3)
							   {
								 uint16_t a=turncircle/3;
								   angle_break+=a*15;

							   }
							   last_turn=turn_cnt;

							   osDelay(400);
							    PID_reinit();

						   }
					   }

					   break;

				   }
				   case 4:
				   {
					   static uint16_t cnt=0;
					   static uint16_t cnt1=0;

					   if(cnt==0)
					   {
						   flag_angle=1;
						  motor_back(70,70,70,70);
						  osDelay(250);
						     motor_stop();
					    angle_begin=imu_data.angle[2];
					    target=angle_begin-30-angle_break;
						cnt=1;
					   }
					   if(target>180)
					   {
						   target=target-360;
					   }
					   if(target<-180)
					   {
					       target+=360;
					   }
					   turn_fixed_angle(angle_begin,target,time);
					   if(MYabs(imu_data.angle[2],target)>5)
					   {
					   flag_angle=1;
					   cnt=1;
					   cnt1=0;
					   }
					   if(MYabs(imu_data.angle[2],target)<5)
					   {
						   cnt1+=1;
						   if(cnt1>=3)
						   {
							   cnt1=0;
							   flag_angle=0;
							   cnt=0;
							   motor_stop();
							   turn_cnt =2;
							    angle_true=imu_data.angle[2];
							   if(last_turn!=turn_cnt&&turn_cnt !=0)
							   {
								   turncircle+=1;

							   }
							   if(last_turn==turn_cnt)
							   {
								   turncircle=0;
								   angle_break=0;

							   }
							   if(turncircle>=3)
							   {
								 uint16_t a=turncircle/3;
								   angle_break+=a*15;

							   }
							   last_turn=turn_cnt;

							   osDelay(400);
							    PID_reinit();

						   }
					   }
					   break;

				   }
				   case 5:
				   {
					    static uint16_t cnt=0;
					   static uint16_t cnt1=0;

					   if(cnt==0)
					   {
						   flag_angle=1;
						  motor_back(70,70,70,70);
						  osDelay(250);
						     motor_stop();
					    angle_begin=imu_data.angle[2];
					    target=angle_begin+30+angle_break;
						cnt=1;
					   }
					   if(target>180)
					   {
						   target=target-360;
					   }
					   if(target<-180)
					   {
					       target+=360;
					   }
					   turn_fixed_angle(angle_begin,target,time);
					   if(MYabs(imu_data.angle[2],target)>5)
					   {
					   flag_angle=1;
					   cnt=1;
					   cnt1=0;
					   }
					   if(MYabs(imu_data.angle[2],target)<=5)
					   {
						   cnt1+=1;
						   if(cnt1>=3)
						   {
							   cnt1=0;
							   flag_angle=0;
							   cnt=0;
							   motor_stop();
							   turn_cnt =1;
							    angle_true=imu_data.angle[2];
							   if(last_turn!=turn_cnt&&turn_cnt !=0)
							   {
								   turncircle+=1;

							   }
							   if(last_turn==turn_cnt)
							   {
								   turncircle=0;
								   angle_break=0;

							   }
							   if(turncircle>=3)
							   {
								 uint16_t a=turncircle/3;
								   angle_break+=a*15;

							   }
							   last_turn=turn_cnt;

							   osDelay(400);
							    PID_reinit();

						   }
					   }
					   break;

				   }
				   case 6:
				   {
					   static  uint16_t m=0;
					   if(length2>length3||m==1)
					{
					   static uint16_t cnt=0;
					   static uint16_t cnt1=0;
					    m=1;
					   if(cnt==0)
					   {
						   flag_angle=1;
						 motor_back(70,70,70,70);
						  osDelay(250);
						     motor_stop();
					    angle_begin=imu_data.angle[2];
					    target=angle_begin+40+angle_break;
						cnt=1;
					   }
					   if(target>180)
					   {
						   target=target-360;
					   }
					   if(target<-180)
					   {
					       target+=360;
					   }
					   turn_fixed_angle(angle_begin,target,time);
					   if(MYabs(imu_data.angle[2],target)>5)
					   {
					   flag_angle=1;
					   cnt=1;
					   cnt1=0;
					   }
					   if(MYabs(imu_data.angle[2],target)<=5)
					   {
						   cnt1+=1;
						   if(cnt1>=3)
						   {
							   cnt1=0;
							   flag_angle=0;
							   cnt=0;
							   motor_stop();
							   turn_cnt =1;
							    angle_true=imu_data.angle[2];
							   if(last_turn!=turn_cnt&&turn_cnt !=0)
							   {
								   turncircle+=1;

							   }
							   if(last_turn==turn_cnt)
							   {
								   turncircle=0;
								   angle_break=0;

							   }
							   if(turncircle>=3)
							   {
								 uint16_t a=turncircle/3;
								   angle_break+=a*15;

							   }
							   last_turn=turn_cnt;

							   osDelay(400);
							    PID_reinit();
							   m=0;

						   }
					   }

					   break;
					}
					else
					{
					   static uint16_t cnt=0;
					   static uint16_t cnt1=0;
					    m=0;
					   if(cnt==0)
					   {
						   flag_angle=1;
						   motor_back(70,70,70,70);
						  osDelay(250);
						     motor_stop();

					    angle_begin=imu_data.angle[2];
					    target=angle_begin-40-angle_break;
						cnt=1;
					   }
					   if(target>180)
					   {
						   target=target-360;
					   }
					   if(target<-180)
					   {
					       target+=360;
					   }
					   turn_fixed_angle(angle_begin,target,time);
					   if(MYabs(imu_data.angle[2],target)>5)
					   {
					   flag_angle=1;
					   cnt=1;
					   cnt1=0;
					   }
					   if(MYabs(imu_data.angle[2],target)<=5)
					   {
						   cnt1+=1;
						   if(cnt1>=3)
						   {
							   cnt1=0;
							   flag_angle=0;
							   cnt=0;
							   motor_stop();
							   turn_cnt =2;
							    angle_true=imu_data.angle[2];
							   if(last_turn!=turn_cnt&&turn_cnt !=0)
							   {
								   turncircle+=1;

							   }
							   if(last_turn==turn_cnt)
							   {
								   turncircle=0;
								   angle_break=0;

							   }
							   if(turncircle>=3)
							   {
								 uint16_t a=turncircle/3;
								   angle_break+=a*15;

							   }
							   last_turn=turn_cnt;

							   osDelay(400);
							    PID_reinit();

						   }
					   }
				   }
					break;
				   }
				   case 7:
				   {
					   static  uint16_t m=0;
					   if(length2>length3||m==1)
					{
					   static uint16_t cnt=0;
					   static uint16_t cnt1=0;
					    m=1;
					   if(cnt==0)
					   {
						   flag_angle=1;
						   motor_back(70,70,70,70);
						  osDelay(250);
						     motor_stop();
					    angle_begin=imu_data.angle[2];
					    target=angle_begin+60+angle_break;
						cnt=1;
					   }
					   if(target>180)
					   {
						   target=target-360;
					   }
					   if(target<-180)
					   {
					       target+=360;
					   }
					   turn_fixed_angle(angle_begin,target,time);
					   if(MYabs(imu_data.angle[2],target)>5)
					   {
					   flag_angle=1;
					   cnt=1;
					   cnt1=0;
					   }
					   if(MYabs(imu_data.angle[2],target)<=5)
					   {
						   cnt1+=1;
						   if(cnt1>=3)
						   {
                                cnt1=0;
							   flag_angle=0;
							   cnt=0;
							   motor_stop();
							   turn_cnt =1;
							    angle_true=imu_data.angle[2];
							   if(last_turn!=turn_cnt&&turn_cnt !=0)
							   {
								   turncircle+=1;

							   }
							   if(last_turn==turn_cnt)
							   {
								   turncircle=0;
								   angle_break=0;

							   }
							   if(turncircle>=3)
							   {
								 uint16_t a=turncircle/3;
								   angle_break+=a*15;

							   }
							   last_turn=turn_cnt;

							   osDelay(400);
							    PID_reinit();
							   m=0;

						   }
					   }

					   break;
					}
					else
					{
					   static uint16_t cnt=0;
					   static uint16_t cnt1=0;
					    m=0;
					   if(cnt==0)
					   {
						   flag_angle=1;
						   motor_back(70,70,70,70);
						  osDelay(250);
						     motor_stop();
					    angle_begin=imu_data.angle[2];
					    target=angle_begin-60-angle_break;
						cnt=1;
					   }
					   if(target>180)
					   {
						   target=target-360;
					   }
					   if(target<-180)
					   {
					       target+=360;
					   }
					   turn_fixed_angle(angle_begin,target,time);
					   if(MYabs(imu_data.angle[2],target)>5)
					   {
					   flag_angle=1;
					   cnt=1;
					   cnt1=0;
					   }
					   if(MYabs(imu_data.angle[2],target)<=5)
					   {
						   cnt1+=1;
						   if(cnt1>=3)
						   {
                               cnt1=0;
							   flag_angle=0;
							   cnt=0;
							   motor_stop();
							   turn_cnt =2;
							    angle_true=imu_data.angle[2];
							   if(last_turn!=turn_cnt&&turn_cnt !=0)
							   {
								   turncircle+=1;

							   }
							   if(last_turn==turn_cnt)
							   {
								   turncircle=0;
								   angle_break=0;

							   }
							   if(turncircle>=3)
							   {
								 uint16_t a=turncircle/3;
								   angle_break+=a*15;

							   }
							   last_turn=turn_cnt;

							   osDelay(400);
							    PID_reinit();

						   }
					   }
				   }
					break;

				   }

			  }
		 // i=0;

		  }
		  if(mode==3)
		  {
			  if(flag_angle==0)
			  {
			  flag=forward_detect();
			  }
			  if(flag==0)
			  {
				    motor_run(sudu1,sudu2,sudu3,sudu4);
			  }
			  if(flag==1)
			  {
				  if(best_angle!=400)
				  {
				   static uint16_t cnt=0;
					   static uint16_t cnt1=0;

					   if(cnt==0)
					   {
						   flag_angle=1;
						  motor_back(70,70,70,70);
						  osDelay(250);
						   motor_stop();
						  //  osDelay(300);
					    angle_begin=imu_data.angle[2];
					    target=angle_begin-best_angle;
						cnt=1;
					   }
					   if(target>180)
					   {
						   target=target-360;
					   }
					   if(target<-180)
					   {
					       target+=360;
					   }
					   turn_fixed_angle(angle_begin,target,time);
					   if(MYabs(imu_data.angle[2],target)>2)
					   {
					   flag_angle=1;
					   cnt=1;
					   cnt1=0;
					   }
					   if(MYabs(imu_data.angle[2],target)<=2)
					   {
						   cnt1+=1;
						   if(cnt1>=3)
						   {
							   cnt1=0;
							   flag_angle=0;
							   cnt=0;
							   motor_stop();
							   j=0;
							PID_init();
							   osDelay(400);
							   flag=0;
							   angle_true=imu_data.angle[2];

						   }
					   }
				   }
				  else
				  {
					  static uint16_t cnt=0;
					   static uint16_t cnt1=0;

					   if(cnt==0)
					   {
						   flag_angle=1;
						  motor_back(70,70,70,70);
						  osDelay(250);
						   motor_stop();
						  //  osDelay(300);
					    angle_begin=imu_data.angle[2];
					    target=angle_begin-180;
						cnt=1;
					   }
					   if(target>180)
					   {
						   target=target-360;
					   }
					   if(target<-180)
					   {
					       target+=360;
					   }
					   turn_fixed_angle(angle_begin,target,time);
					   if(MYabs(imu_data.angle[2],target)>2)
					   {
					   flag_angle=1;
					   cnt=1;
					   cnt1=0;
					   }
					   if(MYabs(imu_data.angle[2],target)<=2)
					   {
						   cnt1+=1;
						   if(cnt1>=3)
						   {
							   cnt1=0;
							   flag_angle=0;
							   cnt=0;
							   motor_stop();
							   j=0;
							PID_init();
							   osDelay(400);
							   flag=0;
							   angle_true=imu_data.angle[2];

						   }
					   }
				  }

			  }
		  }
		  if(mode==4)
		  {
			       switch(step)
				   {
					   case 1:
					   {
							  static uint16_t cnt=0;
							   static uint16_t cnt1=0;

							   if(cnt==0)
							   {
								angle_begin=imu_data.angle[2];
								target=angle_begin+25;
								cnt=1;
							   }
							   if(target>180)
							   {
								   target=target-360;
							   }
							   if(target<-180)
							   {
								   target+=360;
							   }
							   turn_fixed_angle(angle_begin,target,time);
							   if(MYabs(imu_data.angle[2],target)>1.5)
							   {
							   flag_angle==1;
							   cnt=1;
							   cnt1=0;
							   }
							   if(MYabs(imu_data.angle[2],target)<=1.5)
							   {
								   cnt1+=1;
								   if(cnt1>=3)
								   {
									   cnt1=0;
									   flag_angle=0;
									   step=2;
									   cnt=0;
									   motor_stop();
									  PID_reinit();
									   osDelay(500);

								   }
							   }
						   }
					   case 2:
					   {
							  static uint16_t cnt=0;
							   static uint16_t cnt1=0;

							   if(cnt==0)
							   {
								angle_begin=imu_data.angle[2];
								target=angle_begin-25;
								cnt=1;
							   }
							   if(target>180)
							   {
								   target=target-360;
							   }
							   if(target<-180)
							   {
								   target+=360;
							   }
							   turn_fixed_angle(angle_begin,target,time);
							   if(MYabs(imu_data.angle[2],target)>1.5)
							   {
							   flag_angle==1;
							   cnt=1;
							   cnt1=0;
							   }
							   if(MYabs(imu_data.angle[2],target)<=1.5)
							   {
								   cnt1+=1;
								   if(cnt1>=3)
								   {
									   cnt1=0;
									   flag_angle=0;
									   cnt=0;
									   motor_stop();
									  PID_reinit();
									   step=3;
									   osDelay(500);

								   }
							   }
						   }
				case 3:
					   {
							  static uint16_t cnt=0;
							   static uint16_t cnt1=0;

							   if(cnt==0)
							   {
								angle_begin=imu_data.angle[2];
								target=angle_begin-25;
								cnt=1;
							   }
							   if(target>180)
							   {
								   target=target-360;
							   }
							   if(target<-180)
							   {
								   target+=360;
							   }
							   turn_fixed_angle(angle_begin,target,time);
							   if(MYabs(imu_data.angle[2],target)>1.5)
							   {
							   flag_angle==1;
							   cnt=1;
							   cnt1=0;
							   }
							   if(MYabs(imu_data.angle[2],target)<=1.5)
							   {
								   cnt1+=1;
								   if(cnt1>=3)
								   {
									   cnt1=0;
									   flag_angle=0;
									   cnt=0;
									   motor_stop();
									  PID_reinit();
									   step=4;
									   osDelay(500);

								   }
							   }
						   }
			case 4:
					   {
							  static uint16_t cnt=0;
							   static uint16_t cnt1=0;

							   if(cnt==0)
							   {
								angle_begin=imu_data.angle[2];
								target=angle_begin+25;
								cnt=1;
							   }
							   if(target>180)
							   {
								   target=target-360;
							   }
							   if(target<-180)
							   {
								   target+=360;
							   }
							   turn_fixed_angle(angle_begin,target,time);
							   if(MYabs(imu_data.angle[2],target)>1.5)
							   {
							   flag_angle==1;
							   cnt=1;
							   cnt1=0;
							   }
							   if(MYabs(imu_data.angle[2],target)<=1.5)
							   {
								   cnt1+=1;
								   if(cnt1>=3)
								   {
									   cnt1=0;
									   flag_angle=0;
									   cnt=0;
									   motor_stop();
									   step=1;
									  PID_reinit();
									   osDelay(500);

								   }
							   }
						   }
		  }
	  }
		  osDelay(5);
	  }
  }
  }
		  cnt+=1;
		  if(cnt>100)
		  {
			  cnt=0;
		  }

  }
  /* USER CODE END MOTOR_TASK */
}

/* USER CODE BEGIN Header_EXchangetask */
/**
* @brief Function implementing the exchange_task thread.;
* @param argument: Not used
* @retval None
*/
/* USER CODE END Header_EXchangetask */
void EXchangetask(void *argument)
{
  while(1)
  {
    osDelay(1);
  }
}
